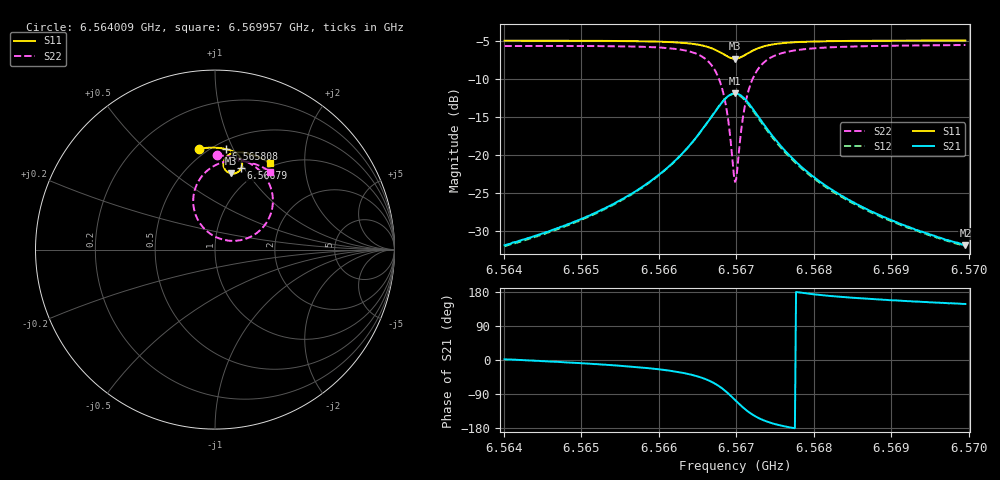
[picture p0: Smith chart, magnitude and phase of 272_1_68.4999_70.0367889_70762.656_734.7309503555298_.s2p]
#  HZ  S  RI  R  50.00
! Rohde & Schwarz Vector Network Analyzer
! Rohde-Schwarz,ZNB20-2Port,1311601062101988,3.16
! Created: UTC 3/20/2024, 5:00:47 PM
! freq[Hz]  re:S11  im:S11  re:S21  im:S21  re:S12  im:S12  re:S22  im:S22
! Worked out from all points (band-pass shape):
!   401 points, 6.564009 GHz to 6.569957 GHz, reference 50 ohm
!   highest |S21| = -11.84 dB at 6.566983 GHz (marker M1); lowest = -31.9 dB at 6.569957 GHz (marker M2)
!   |S21| within 3 dB of the highest: 6.566685 GHz to 6.56728 GHz (594.9 kHz wide, 0.00906 % of centre)
!   lowest |S11| = -7.3 dB at 6.566983 GHz (marker M3), VSWR 2.53, Z = 40.1 + j41.9 ohm
!   |S11| at or under -10 dB: nowhere
!   |S22| runs from -23.5 to -5.5 dB; largest |S21 - S12| = 0.011
!   S11 on the Smith chart (normalised r, x): 6.564009 GHz: 0.45, +0.75; 6.565808 GHz: 0.57, +0.94; 6.56679 GHz: 0.83, +0.97; 6.569957 GHz: 0.95, +1.35
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6.5640086e9  -0.0893 0.5619  0.0255 0.000838  0.0252 0.000377  0.00886 0.5246
6.565005e9  -0.00933 0.5679  0.0378 -0.00574  0.0372 -0.00621  0.0991 0.5155
6.5658081e9  0.0623 0.5602  0.059 -0.0221  0.0581 -0.0228  0.1929 0.4813
6.5660014e9  0.0818 0.5548  0.0678 -0.031  0.0667 -0.0318  0.2219 0.463
6.5663138e9  0.1156 0.5384  0.0863 -0.0584  0.0849 -0.0597  0.2772 0.4084
6.5665368e9  0.1405 0.5133  0.0997 -0.1018  0.0974 -0.1036  0.3163 0.3249
6.5666856e9  0.1511 0.4833  0.0959 -0.1539  0.0922 -0.1567  0.3177 0.2252
6.5667897e9  0.1464 0.4547  0.0703 -0.203  0.0641 -0.2056  0.2744 0.1329
6.5668789e9  0.1268 0.4316  0.02 -0.2409  0.0106 -0.2413  0.1831 0.0645
6.5669533e9  0.0993 0.4232  -0.0416 -0.2511  -0.052 -0.2478  0.0736 0.05
6.566983e9  0.0874 0.4243  -0.0675 -0.2467  -0.0775 -0.2415  0.0284 0.0605
6.5670127e9  0.0761 0.4282  -0.0922 -0.2371  -0.1013 -0.2303  -0.0135 0.0799
6.5670722e9  0.0578 0.4427  -0.132 -0.2062  -0.1384 -0.197  -0.0783 0.1387
6.5671317e9  0.0482 0.462  -0.1556 -0.1674  -0.1589 -0.1577  -0.1129 0.2091
6.5671912e9  0.0466 0.481  -0.1646 -0.1297  -0.1653 -0.1205  -0.1213 0.2758
6.5672656e9  0.0521 0.5011  -0.162 -0.0904  -0.1607 -0.0828  -0.1091 0.3436
6.5673845e9  0.0686 0.5224  -0.1446 -0.0478  -0.1422 -0.0428  -0.0683 0.4149
6.5675333e9  0.0916 0.5358  -0.1203 -0.0192  -0.1178 -0.0158  -0.0143 0.4611
6.5679794e9  0.148 0.5421  -0.0729 0.00779  -0.0712 0.00892  0.0991 0.4961
6.5684256e9  0.1911 0.5339  -0.0502 0.013  -0.049 0.0135  0.1678 0.4916
6.5689758e9  0.2365 0.518  -0.035 0.0142  -0.0343 0.0145  0.2283 0.4747
6.5699574e9  0.3068 0.4816  -0.0216 0.0135  -0.0212 0.0137  0.3086 0.4344
